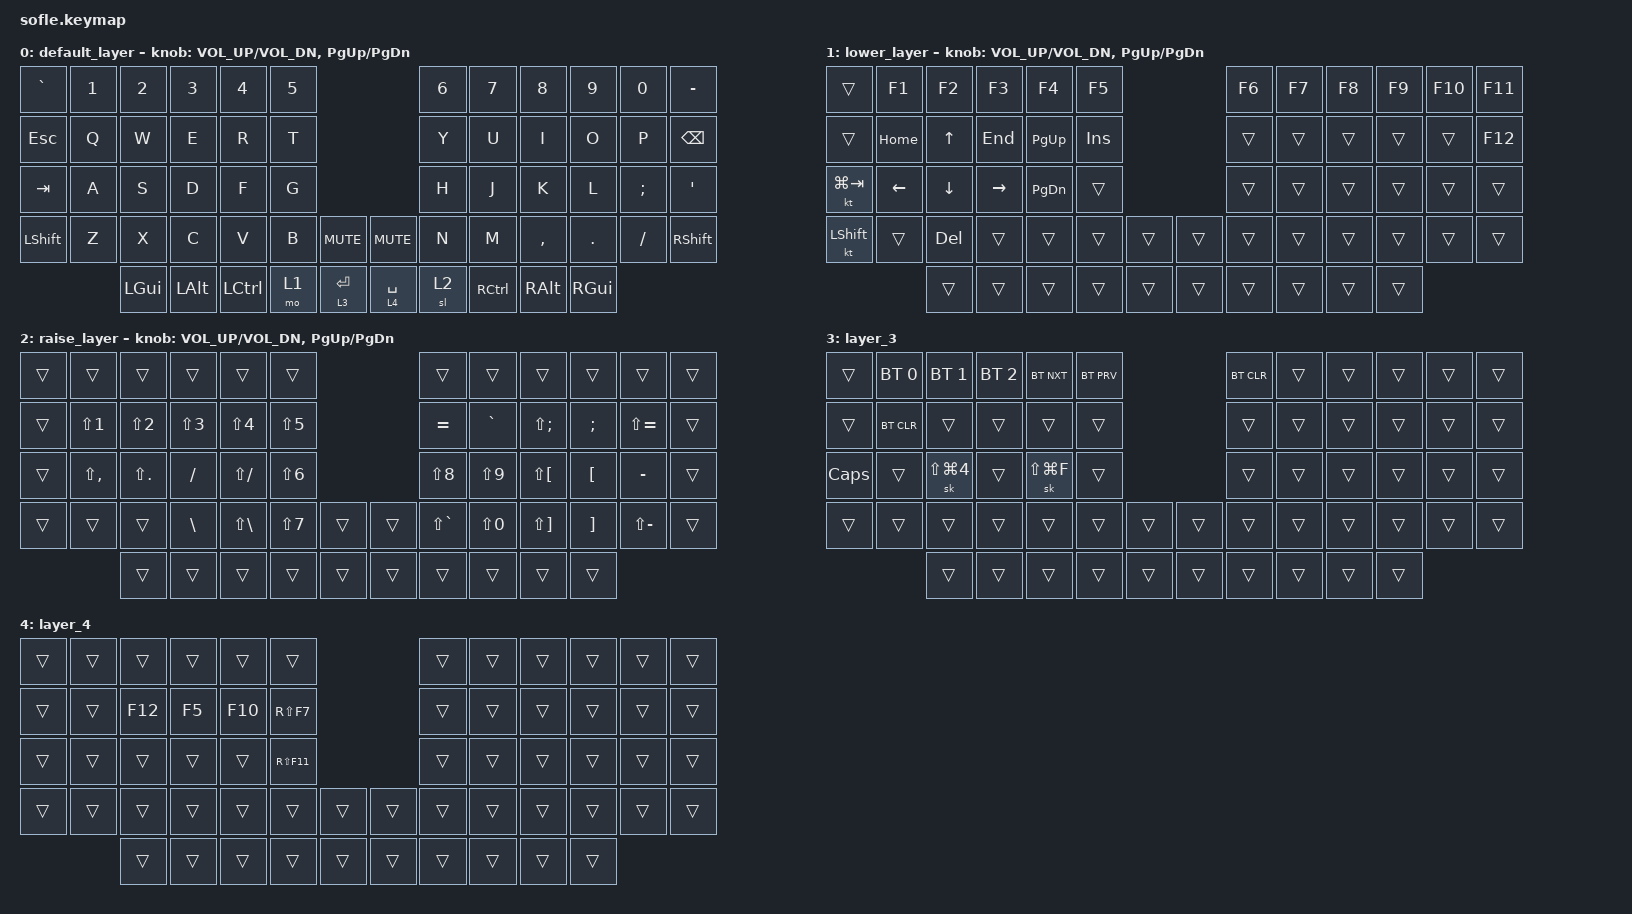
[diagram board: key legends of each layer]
/*
 * Copyright (c) 2020 The ZMK Contributors
 *
 * SPDX-License-Identifier: MIT
 */

#include <behaviors.dtsi>
#include <dt-bindings/zmk/bt.h>
#include <dt-bindings/zmk/keys.h>
#include <dt-bindings/zmk/keys.h>

/ {
    keymap {
        compatible = "zmk,keymap";

        default_layer {
            // ------------------------------------------------------------------------------------------------------------
            // |  `    |  1  |  2  |  3   |  4   |  5   |                   |  6   |  7    |  8    |  9   |   0   |       |
            // |  ESC  |  Q  |  W  |  E   |  R   |  T   |                   |  Y   |  U    |  I    |  O   |   P   | BKSPC |
            // |  TAB  |  A  |  S  |  D   |  F   |  G   |                   |  H   |  J    |  K    |  L   |   ;   |   '   |
            // | SHIFT |  Z  |  X  |  C   |  V   |  B   |  MUTE  |  |       |  N   |  M    |  ,    |  .   |   /   | SHIFT |
            //               | GUI | ALT  | CTRL | LOWER|  ENTER |  | SPACE | RAISE| CTRL  | ALT   | GUI  |

            bindings = <
&kp GRAVE  &kp N1  &kp N2    &kp N3    &kp N4     &kp N5                              &kp N6  &kp N7     &kp N8     &kp N9    &kp N0    &kp MINUS
&kp ESC    &kp Q   &kp W     &kp E     &kp R      &kp T                               &kp Y   &kp U      &kp I      &kp O     &kp P     &kp BSPC
&kp TAB    &kp A   &kp S     &kp D     &kp F      &kp G                               &kp H   &kp J      &kp K      &kp L     &kp SEMI  &kp SQT
&kp LSHFT  &kp Z   &kp X     &kp C     &kp V      &kp B   &kp C_MUTE     &kp C_MUTE   &kp N   &kp M      &kp COMMA  &kp DOT   &kp FSLH  &kp RSHFT
                   &kp LGUI  &kp LALT  &kp LCTRL  &mo 1   &lt 3 ENTER    &lt 4 SPACE  &sl 2   &kp RCTRL  &kp RALT   &kp RGUI
            >;

            sensor-bindings = <&inc_dec_kp C_VOL_UP C_VOL_DN &inc_dec_kp PG_UP PG_DN>;
        };

        lower_layer {
            // TODO: Some binds are waiting for shifted keycode support.
            // ------------------------------------------------------------------------------------------------------------
            // | `     |  F1 |  F2 |  F3  |  F4  |  F5  |                   |  F6  |  F7   |  F8   |  F9  |  F10  |  F11  |
            // | RAISE |   1 |   2 |   3  |   4  |   5  |                   |   6  |   7   |   8   |   9  |    0  |  F12  |
            // |       |  !  |  @  |  #   |  $   |  %   |                   |  ^   |  &    |  *    |  (   |   )   |   |   |
            // |       |  =  |  -  |  +   |  {   |  }   |        |  |       |  [   |  ]    |  ;    |  :   |   \   |       |
            //               |     |      |      |      |        |  |       |      |       |       |      |

            bindings = <
&trans          &kp F1    &kp F2        &kp F3     &kp F4         &kp F5                        &kp F6  &kp F7  &kp F8  &kp F9  &kp F10  &kp F11
&trans          &kp HOME  &kp UP_ARROW  &kp END    &kp PAGE_UP    &kp INSERT                    &trans  &trans  &trans  &trans  &trans   &kp F12
&kt LG(TAB)     &kp LEFT  &kp DOWN      &kp RIGHT  &kp PAGE_DOWN  &trans                        &trans  &trans  &trans  &trans  &trans   &trans
&kt LEFT_SHIFT  &trans    &kp DELETE    &trans     &trans         &trans      &trans    &trans  &trans  &trans  &trans  &trans  &trans   &trans
                          &trans        &trans     &trans         &trans      &trans    &trans  &trans  &trans  &trans  &trans
            >;

            sensor-bindings = <&inc_dec_kp C_VOL_UP C_VOL_DN &inc_dec_kp PG_UP PG_DN>;
        };

        raise_layer {
            // ------------------------------------------------------------------------------------------------------------
            // |BTCLR| BT1  | BT2  |  BT3  |  BT4  |  BT5 |                |      |      |       |      |       |       |
            // |     | INS  | PSCR | GUI   |       |      |                | PGUP |      |       |      |       |       |
            // |     | ALT  | CTRL | SHIFT |       | CAPS |                |  <-  |   v  |   ^   |  ->  |  DEL  | BKSPC |
            // |     | UNDO | CUT  | COPY  | PASTE |      |      |  |      |      |      |       |      |       |       |
            //              |      |       |       |      |      |  |      |      |      |       |      |

            bindings = <
&trans  &trans            &trans            &trans            &trans             &trans                              &trans         &trans            &trans                 &trans             &trans         &trans
&trans  &kp LS(NUMBER_1)  &kp LS(NUMBER_2)  &kp LS(NUMBER_3)  &kp LS(NUMBER_4)   &kp LS(N5)                          &kp EQUAL      &kp GRAVE         &kp LS(SEMICOLON)      &kp SEMICOLON      &kp LS(EQUAL)  &trans
&trans  &kp LS(COMMA)     &kp LS(PERIOD)    &kp SLASH         &kp LS(SLASH)      &kp LS(NUMBER_6)                    &kp LS(N8)     &kp LS(NUMBER_9)  &kp LS(LEFT_BRACKET)   &kp LEFT_BRACKET   &kp MINUS      &trans
&trans  &trans            &trans            &kp BACKSLASH     &kp LS(BACKSLASH)  &kp LS(N7)        &trans    &trans  &kp LS(GRAVE)  &kp LS(NUMBER_0)  &kp LS(RIGHT_BRACKET)  &kp RIGHT_BRACKET  &kp LS(MINUS)  &trans
                          &trans            &trans            &trans             &trans            &trans    &trans  &trans         &trans            &trans                 &trans
            >;

            sensor-bindings = <&inc_dec_kp C_VOL_UP C_VOL_DN &inc_dec_kp PG_UP PG_DN>;
        };

        layer_3 {
            bindings = <
&trans        &bt BT_SEL 0  &bt BT_SEL 1          &bt BT_SEL 2  &bt BT_NXT     &bt BT_PRV                    &bt BT_CLR  &trans  &trans  &trans  &trans  &trans
&trans        &bt BT_CLR    &trans                &trans        &trans         &trans                        &trans      &trans  &trans  &trans  &trans  &trans
&kp CAPSLOCK  &trans        &sk LS(LG(NUMBER_4))  &trans        &sk LS(LG(F))  &trans                        &trans      &trans  &trans  &trans  &trans  &trans
&trans        &trans        &trans                &trans        &trans         &trans      &trans    &trans  &trans      &trans  &trans  &trans  &trans  &trans
                            &trans                &trans        &trans         &trans      &trans    &trans  &trans      &trans  &trans  &trans
            >;
        };

        layer_4 {
            bindings = <
&trans  &trans  &trans   &trans  &trans   &trans                         &trans  &trans  &trans  &trans  &trans  &trans
&trans  &trans  &kp F12  &kp F5  &kp F10  &kp RS(F7)                     &trans  &trans  &trans  &trans  &trans  &trans
&trans  &trans  &trans   &trans  &trans   &kp RS(F11)                    &trans  &trans  &trans  &trans  &trans  &trans
&trans  &trans  &trans   &trans  &trans   &trans       &trans    &trans  &trans  &trans  &trans  &trans  &trans  &trans
                &trans   &trans  &trans   &trans       &trans    &trans  &trans  &trans  &trans  &trans
            >;
        };
    };
};
